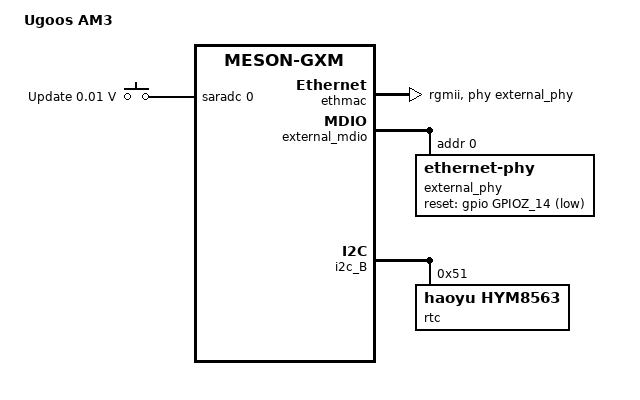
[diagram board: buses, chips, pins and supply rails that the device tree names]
// SPDX-License-Identifier: GPL-2.0
/*
 * Copyright (C) 2025 J. Neuschäfer <j.ne@posteo.net>
 *
 * Debug UART (3.3V, 115200 baud) at the corner of the board:
 *   (4) (3) (2) [1]
 *   Vcc RXD TXD GND
 */

/dts-v1/;

#include <dt-bindings/input/input.h>
#include <dt-bindings/interrupt-controller/amlogic,meson-g12a-gpio-intc.h>

#include "meson-gxm.dtsi"
#include "meson-gx-p23x-q20x.dtsi"

/ {
	compatible = "ugoos,am3", "amlogic,s912", "amlogic,meson-gxm";
	model = "Ugoos AM3";

	adc-keys {
		compatible = "adc-keys";
		io-channels = <&saradc 0>;
		io-channel-names = "buttons";
		keyup-threshold-microvolt = <1710000>;

		button-function {
			label = "Update";
			linux,code = <KEY_VENDOR>;
			press-threshold-microvolt = <10000>;
		};
	};
};

&cvbs_connector {
	/* Not used on this board */
	status = "disabled";
};

&ethmac {
	pinctrl-0 = <&eth_pins>;
	pinctrl-names = "default";

	/* Select external PHY by default */
	phy-handle = <&external_phy>;

	amlogic,tx-delay-ns = <2>;

	/* External PHY is in RGMII */
	phy-mode = "rgmii";

	status = "okay";
};

&external_mdio {
	external_phy: ethernet-phy@0 {
		/* Realtek RTL8211F (0x001cc916) */
		reg = <0>;

		reset-assert-us = <10000>;
		reset-deassert-us = <80000>;
		reset-gpios = <&gpio GPIOZ_14 GPIO_ACTIVE_LOW>;

		interrupt-parent = <&gpio_intc>;
		/* MAC_INTR on GPIOZ_15 */
		interrupts = <25 IRQ_TYPE_LEVEL_LOW>;
	};
};

&i2c_B {
	status = "okay";
	pinctrl-names = "default";
	pinctrl-0 = <&i2c_b_pins>;

	rtc: rtc@51 {
		compatible = "haoyu,hym8563";
		reg = <0x51>;
		#clock-cells = <0>;
	};
};

/* WLAN: Atheros 10k (QCA9377) */
&sd_emmc_a {
	max-frequency = <200000000>;
};

/* eMMC */
&sd_emmc_c {
	max-frequency = <100000000>;
};
